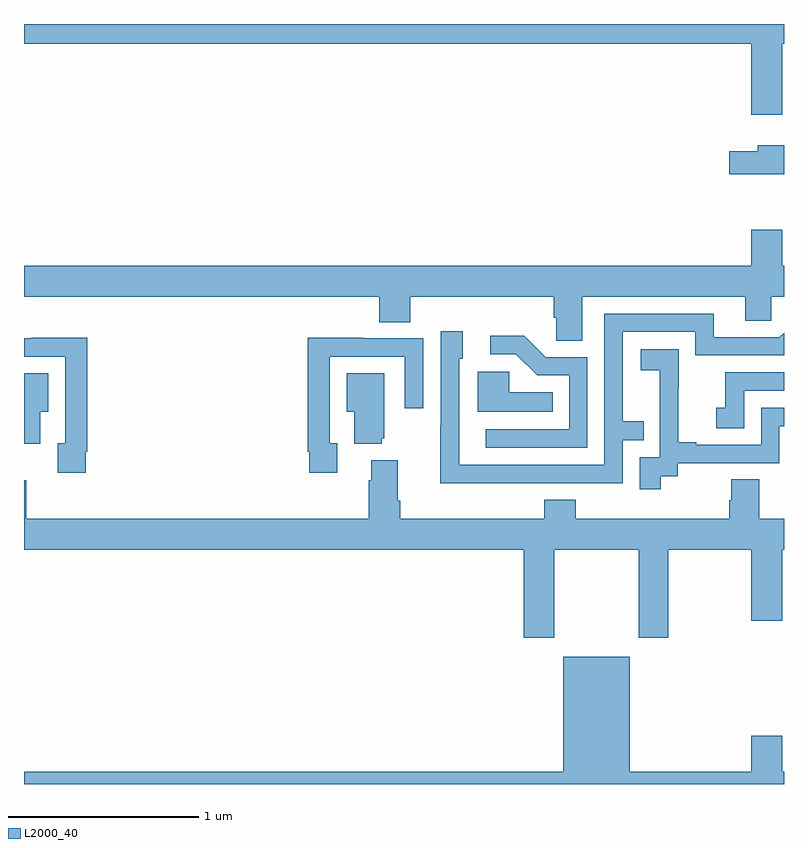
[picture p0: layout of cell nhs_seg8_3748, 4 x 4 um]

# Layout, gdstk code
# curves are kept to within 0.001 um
import gdstk
lib = gdstk.Library(unit=1e-6, precision=1e-09)
def P(c, l, *ps):  # polygons
    for p in ps: c.add(gdstk.Polygon(p, *l))
L2000_40 = (2000, 40)

nhs_seg8_3748 = lib.new_cell('nhs_seg8_3748')
P(nhs_seg8_3748, L2000_40, [(344.992,1153.796),(345,1153.796),(345,1153.9),(341,1153.9),(341,1153.796),(344.828,1153.796),(344.828,1153.422),(344.992,1153.422)],
  [(345,1153.261),(344.861,1153.261),(344.861,1153.231),(344.712,1153.231),(344.712,1153.109),(345,1153.109)],
  [(343.939,1152.464),(344.795,1152.464),(344.795,1152.337),(344.934,1152.337),(344.934,1152.464),(345,1152.464),(345,1152.628),(344.992,1152.628),(344.992,1152.817),(344.828,1152.817),(344.828,1152.628),(341,1152.628),(341,1152.464),(342.869,1152.464),(342.869,1152.331),(343.034,1152.331),(343.034,1152.464),(343.787,1152.464),(343.787,1152.355),(343.8,1152.355),(343.8,1152.232),(343.939,1152.232)],
  [(343.655,1151.484),(344.151,1151.484),(344.151,1151.709),(344.261,1151.709),(344.261,1151.81),(344.151,1151.81),(344.151,1152.279),(344.532,1152.279),(344.532,1152.156),(345,1152.156),(345,1152.276),(344.976,1152.252),(344.629,1152.252),(344.629,1152.375),(344.055,1152.375),(344.055,1151.58),(343.291,1151.58),(343.29,1152.138),(343.309,1152.138),(343.309,1152.283),(343.194,1152.283),(343.194,1151.789),(343.192,1151.789),(343.192,1151.483)],
  [(343.965,1152.147),(343.746,1152.147),(343.633,1152.26),(343.455,1152.26),(343.455,1152.162),(343.589,1152.162),(343.7,1152.051),(343.869,1152.051),(343.869,1151.766),(343.431,1151.766),(343.431,1151.67),(343.965,1151.67)],
  [(341.326,1151.65),(341.333,1151.65),(341.333,1152.248),(341.041,1152.248),(341.041,1152.246),(341,1152.246),(341,1152.15),(341.217,1152.15),(341.217,1151.694),(341.177,1151.694),(341.177,1151.538),(341.326,1151.538)],
  [(342.649,1151.694),(342.609,1151.694),(342.609,1152.15),(343.005,1152.15),(343.005,1151.877),(343.101,1151.877),(343.101,1152.246),(342.785,1152.246),(342.785,1152.248),(342.493,1152.248),(342.493,1151.65),(342.501,1151.65),(342.501,1151.538),(342.649,1151.538)],
  [(344.35,1151.521),(344.442,1151.521),(344.442,1151.589),(344.976,1151.589),(344.976,1151.784),(345,1151.784),(345,1151.88),(344.88,1151.88),(344.88,1151.685),(344.539,1151.685),(344.539,1151.698),(344.444,1151.698),(344.444,1151.981),(344.445,1151.981),(344.445,1152.187),(344.247,1152.187),(344.247,1152.077),(344.345,1152.077),(344.345,1151.849),(344.346,1151.849),(344.346,1151.619),(344.241,1151.619),(344.241,1151.451),(344.35,1151.451)],
  [(343.784,1151.962),(343.554,1151.962),(343.554,1152.07),(343.388,1152.07),(343.388,1151.858),(343.784,1151.858)],
  [(344.79,1151.97),(345,1151.97),(345,1152.066),(344.692,1152.066),(344.692,1151.881),(344.643,1151.881),(344.643,1151.772),(344.79,1151.772)],
  [(342.884,1151.721),(342.895,1151.721),(342.895,1152.061),(342.698,1152.061),(342.698,1151.858),(342.737,1151.858),(342.737,1151.69),(342.884,1151.69)],
  [(341.086,1151.858),(341.128,1151.858),(341.128,1152.061),(341,1152.061),(341,1151.69),(341.086,1151.69)],
  [(343.791,1151.132),(344.236,1151.132),(344.236,1150.671),(344.391,1150.671),(344.391,1151.132),(344.828,1151.132),(344.828,1150.758),(344.992,1150.758),(344.992,1151.132),(345,1151.132),(345,1151.296),(344.871,1151.296),(344.871,1151.504),(344.723,1151.504),(344.723,1151.394),(344.711,1151.394),(344.711,1151.296),(343.904,1151.296),(343.904,1151.395),(343.739,1151.395),(343.739,1151.296),(342.98,1151.296),(342.98,1151.392),(342.967,1151.392),(342.967,1151.605),(342.827,1151.605),(342.827,1151.498),(342.815,1151.498),(342.815,1151.296),(341.012,1151.296),(341.012,1151.498),(341,1151.498),(341,1151.132),(343.631,1151.132),(343.631,1150.671),(343.791,1150.671)],
  [(345,1149.964),(344.992,1149.964),(344.992,1150.153),(344.828,1150.153),(344.828,1149.964),(344.188,1149.964),(344.188,1150.57),(343.838,1150.57),(343.838,1149.964),(341,1149.964),(341,1149.9),(345,1149.9)])

lib.write_gds('nhs_seg8_3748.gds')
